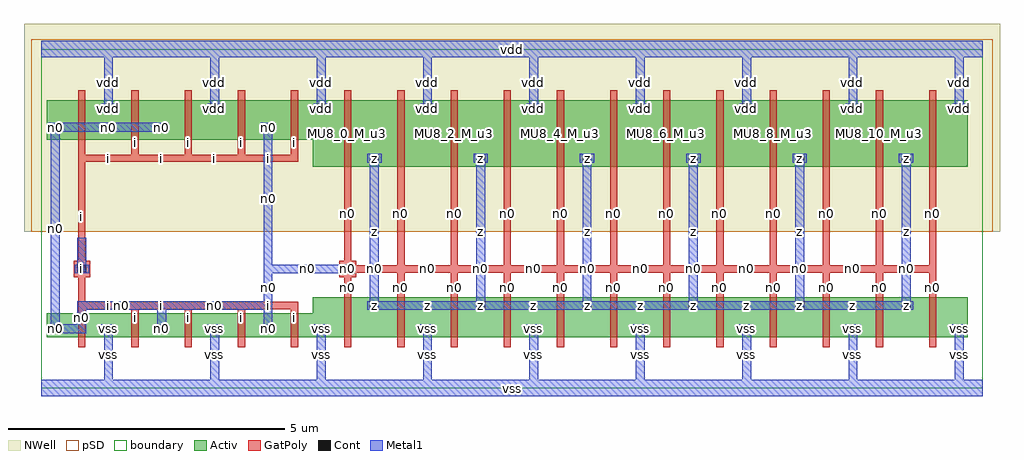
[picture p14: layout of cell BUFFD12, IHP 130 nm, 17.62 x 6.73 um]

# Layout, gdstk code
import gdstk
lib = gdstk.Library(unit=1e-6, precision=1e-09)
def R(c, l, rs):  # rectangles x0, y0, x1, y1
    for r in rs: c.add(gdstk.rectangle(r[:2], r[2:], *l))
def A(c, l, x, y, w, h, nx, ny, dx, dy):  # array of equal rectangles
    R(c, l, [(x+i*dx, y+j*dy, x+i*dx+w, y+j*dy+h) for i in range(nx) for j in range(ny)])
Activ = (1, 0)
GatPoly = (5, 0)
Cont = (6, 0)
Metal1 = (8, 0)
pSD = (14, 0)
NWell = (31, 0)
TEXT = (63, 0)
boundary = (189, 4)

buffd12 = lib.new_cell('BUFFD12')
A(buffd12, Activ, 0.105, 0.92, 1.26, 0.43, 5, 1, 0.96, 0)
A(buffd12, Activ, 0.105, 0.92, 0.3, 0.3, 6, 1, 0.96, 0)
A(buffd12, Activ, 4.905, 0.92, 1.26, 0.72, 12, 1, 0.96, 0)
A(buffd12, Activ, 6.825, 0.92, 0.3, 0.3, 6, 1, 1.92, 0)
A(buffd12, Activ, 5.865, 1.34, 0.3, 0.3, 6, 2, 1.92, 2.66)
A(buffd12, Activ, 4.905, 4, 1.26, 1.2, 12, 1, 0.96, 0)
A(buffd12, Activ, 0.105, 4.48, 1.26, 0.72, 5, 1, 0.96, 0)
A(buffd12, Activ, 0.105, 4.56, 0.3, 0.3, 3, 1, 1.92, 0)
A(buffd12, Activ, 1.065, 4.9, 0.3, 0.3, 9, 1, 1.92, 0)
A(buffd12, GatPoly, 0.67, 0.74, 0.13, 0.79, 5, 1, 0.96, 0)
A(buffd12, GatPoly, 5.47, 0.74, 0.13, 1.08, 12, 1, 0.96, 0)
A(buffd12, GatPoly, 0.67, 1.005, 0.13, 0.55, 5, 1, 0.96, 0)
A(buffd12, GatPoly, 0.67, 1.425, 1.09, 0.13, 4, 2, 0.96, 2.66)
A(buffd12, GatPoly, 5.47, 1.425, 0.13, 0.79, 12, 1, 0.96, 0)
A(buffd12, GatPoly, 5.47, 2.085, 1.09, 0.13, 11, 1, 0.96, 0)
A(buffd12, GatPoly, 5.47, 2.085, 0.13, 2.13, 12, 1, 0.96, 0)
A(buffd12, GatPoly, 5.47, 3.82, 0.13, 1.56, 12, 1, 0.96, 0)
A(buffd12, GatPoly, 1.63, 4.085, 0.13, 0.69, 4, 1, 0.96, 0)
A(buffd12, GatPoly, 0.67, 4.3, 0.13, 1.08, 5, 1, 0.96, 0)
R(buffd12, GatPoly, [(0.67,1.425,0.8,4.775), (0.585,2,0.885,2.3), (5.385,2,5.685,2.3)])
A(buffd12, Cont, 0.175, 0.99, 0.16, 0.16, 6, 1, 0.96, 0)
A(buffd12, Cont, 6.895, 0.99, 0.16, 0.16, 6, 1, 1.92, 0)
A(buffd12, Cont, 5.935, 1.41, 0.16, 0.16, 6, 2, 1.92, 2.66)
A(buffd12, Cont, 0.175, 4.63, 0.16, 0.16, 3, 1, 1.92, 0)
A(buffd12, Cont, 1.135, 4.97, 0.16, 0.16, 9, 1, 1.92, 0)
R(buffd12, Cont, [(0.655,2.07,0.815,2.23), (5.455,2.07,5.615,2.23)])
A(buffd12, Metal1, 1.135, 0.07, 0.16, 1.08, 9, 2, 1.92, 4.9)
A(buffd12, Metal1, 0.125, 0.99, 0.26, 0.16, 6, 1, 0.96, 0)
A(buffd12, Metal1, 6.845, 0.99, 0.26, 0.16, 6, 1, 1.92, 0)
A(buffd12, Metal1, 5.885, 1.41, 0.26, 0.16, 6, 2, 1.92, 2.66)
A(buffd12, Metal1, 5.935, 1.41, 2.08, 0.16, 5, 1, 1.92, 0)
A(buffd12, Metal1, 5.935, 1.41, 0.16, 2.82, 6, 1, 1.92, 0)
A(buffd12, Metal1, 0.125, 4.63, 0.26, 0.16, 3, 1, 1.92, 0)
A(buffd12, Metal1, 1.085, 4.97, 0.26, 0.16, 9, 1, 1.92, 0)
R(buffd12, Metal1, [(0,-0.15,17,0.15), (0.175,0.99,0.815,1.15), (0.175,0.99,0.335,4.79), (0.655,0.99,0.815,1.57), (2.095,0.99,2.255,1.57), (4.015,0.99,4.175,1.57), (0.655,1.41,2.255,1.57), (2.095,1.41,4.175,1.57), (4.015,1.41,4.175,2.23), (0.605,2.07,0.865,2.23), (0.655,2.07,0.815,2.71), (4.015,2.07,5.615,2.23), (4.015,2.07,4.175,4.79), (5.405,2.07,5.665,2.23), (0.175,4.63,2.255,4.79), (0,5.97,17,6.27)])
R(buffd12, pSD, [(-0.18,2.82,17.18,5.94), (-0.18,5.94,17.18,6.3)])
R(buffd12, NWell, [(-0.31,2.82,17.31,6.58)])
R(buffd12, boundary, [(0,0,17,6.12)])
buffd12.add(gdstk.FlexPath([(0.105,0.41),(16.725,0.41)], 0, ends="flush", simple_path=True, layer=63, datatype=0))  # TEXT
buffd12.add(gdstk.FlexPath([(0.105,1.07),(16.725,1.07)], 0, ends="flush", simple_path=True, layer=63, datatype=0))  # TEXT
buffd12.add(gdstk.FlexPath([(0.105,1.49),(16.725,1.49)], 0, ends="flush", simple_path=True, layer=63, datatype=0))  # TEXT
buffd12.add(gdstk.FlexPath([(0.105,2.15),(16.725,2.15)], 0, ends="flush", simple_path=True, layer=63, datatype=0))  # TEXT
buffd12.add(gdstk.FlexPath([(0.105,2.63),(16.725,2.63)], 0, ends="flush", simple_path=True, layer=63, datatype=0))  # TEXT
buffd12.add(gdstk.FlexPath([(0.105,3.11),(16.725,3.11)], 0, ends="flush", simple_path=True, layer=63, datatype=0))  # TEXT
buffd12.add(gdstk.FlexPath([(0.105,4.15),(16.725,4.15)], 0, ends="flush", simple_path=True, layer=63, datatype=0))  # TEXT
buffd12.add(gdstk.FlexPath([(0.105,4.71),(16.725,4.71)], 0, ends="flush", simple_path=True, layer=63, datatype=0))  # TEXT
buffd12.add(gdstk.FlexPath([(0.105,5.05),(16.725,5.05)], 0, ends="flush", simple_path=True, layer=63, datatype=0))  # TEXT
buffd12.add(gdstk.FlexPath([(0.105,5.71),(16.725,5.71)], 0, ends="flush", simple_path=True, layer=63, datatype=0))  # TEXT
buffd12.add(gdstk.FlexPath([(0.255,0.07),(0.255,6.05)], 0, ends="flush", simple_path=True, layer=63, datatype=0))  # TEXT
buffd12.add(gdstk.FlexPath([(0.735,0.07),(0.735,6.05)], 0, ends="flush", simple_path=True, layer=63, datatype=0))  # TEXT
buffd12.add(gdstk.FlexPath([(1.215,0.07),(1.215,6.05)], 0, ends="flush", simple_path=True, layer=63, datatype=0))  # TEXT
buffd12.add(gdstk.FlexPath([(1.695,0.07),(1.695,6.05)], 0, ends="flush", simple_path=True, layer=63, datatype=0))  # TEXT
buffd12.add(gdstk.FlexPath([(2.175,0.07),(2.175,6.05)], 0, ends="flush", simple_path=True, layer=63, datatype=0))  # TEXT
buffd12.add(gdstk.FlexPath([(2.655,0.07),(2.655,6.05)], 0, ends="flush", simple_path=True, layer=63, datatype=0))  # TEXT
buffd12.add(gdstk.FlexPath([(3.135,0.07),(3.135,6.05)], 0, ends="flush", simple_path=True, layer=63, datatype=0))  # TEXT
buffd12.add(gdstk.FlexPath([(3.615,0.07),(3.615,6.05)], 0, ends="flush", simple_path=True, layer=63, datatype=0))  # TEXT
buffd12.add(gdstk.FlexPath([(4.095,0.07),(4.095,6.05)], 0, ends="flush", simple_path=True, layer=63, datatype=0))  # TEXT
buffd12.add(gdstk.FlexPath([(4.575,0.07),(4.575,6.05)], 0, ends="flush", simple_path=True, layer=63, datatype=0))  # TEXT
buffd12.add(gdstk.FlexPath([(5.055,0.07),(5.055,6.05)], 0, ends="flush", simple_path=True, layer=63, datatype=0))  # TEXT
buffd12.add(gdstk.FlexPath([(5.535,0.07),(5.535,6.05)], 0, ends="flush", simple_path=True, layer=63, datatype=0))  # TEXT
buffd12.add(gdstk.FlexPath([(6.015,0.07),(6.015,6.05)], 0, ends="flush", simple_path=True, layer=63, datatype=0))  # TEXT
buffd12.add(gdstk.FlexPath([(6.495,0.07),(6.495,6.05)], 0, ends="flush", simple_path=True, layer=63, datatype=0))  # TEXT
buffd12.add(gdstk.FlexPath([(6.975,0.07),(6.975,6.05)], 0, ends="flush", simple_path=True, layer=63, datatype=0))  # TEXT
buffd12.add(gdstk.FlexPath([(7.455,0.07),(7.455,6.05)], 0, ends="flush", simple_path=True, layer=63, datatype=0))  # TEXT
buffd12.add(gdstk.FlexPath([(7.935,0.07),(7.935,6.05)], 0, ends="flush", simple_path=True, layer=63, datatype=0))  # TEXT
buffd12.add(gdstk.FlexPath([(8.415,0.07),(8.415,6.05)], 0, ends="flush", simple_path=True, layer=63, datatype=0))  # TEXT
buffd12.add(gdstk.FlexPath([(8.895,0.07),(8.895,6.05)], 0, ends="flush", simple_path=True, layer=63, datatype=0))  # TEXT
buffd12.add(gdstk.FlexPath([(9.375,0.07),(9.375,6.05)], 0, ends="flush", simple_path=True, layer=63, datatype=0))  # TEXT
buffd12.add(gdstk.FlexPath([(9.855,0.07),(9.855,6.05)], 0, ends="flush", simple_path=True, layer=63, datatype=0))  # TEXT
buffd12.add(gdstk.FlexPath([(10.335,0.07),(10.335,6.05)], 0, ends="flush", simple_path=True, layer=63, datatype=0))  # TEXT
buffd12.add(gdstk.FlexPath([(10.815,0.07),(10.815,6.05)], 0, ends="flush", simple_path=True, layer=63, datatype=0))  # TEXT
buffd12.add(gdstk.FlexPath([(11.295,0.07),(11.295,6.05)], 0, ends="flush", simple_path=True, layer=63, datatype=0))  # TEXT
buffd12.add(gdstk.FlexPath([(11.775,0.07),(11.775,6.05)], 0, ends="flush", simple_path=True, layer=63, datatype=0))  # TEXT
buffd12.add(gdstk.FlexPath([(12.255,0.07),(12.255,6.05)], 0, ends="flush", simple_path=True, layer=63, datatype=0))  # TEXT
buffd12.add(gdstk.FlexPath([(12.735,0.07),(12.735,6.05)], 0, ends="flush", simple_path=True, layer=63, datatype=0))  # TEXT
buffd12.add(gdstk.FlexPath([(13.215,0.07),(13.215,6.05)], 0, ends="flush", simple_path=True, layer=63, datatype=0))  # TEXT
buffd12.add(gdstk.FlexPath([(13.695,0.07),(13.695,6.05)], 0, ends="flush", simple_path=True, layer=63, datatype=0))  # TEXT
buffd12.add(gdstk.FlexPath([(14.175,0.07),(14.175,6.05)], 0, ends="flush", simple_path=True, layer=63, datatype=0))  # TEXT
buffd12.add(gdstk.FlexPath([(14.655,0.07),(14.655,6.05)], 0, ends="flush", simple_path=True, layer=63, datatype=0))  # TEXT
buffd12.add(gdstk.FlexPath([(15.135,0.07),(15.135,6.05)], 0, ends="flush", simple_path=True, layer=63, datatype=0))  # TEXT
buffd12.add(gdstk.FlexPath([(15.615,0.07),(15.615,6.05)], 0, ends="flush", simple_path=True, layer=63, datatype=0))  # TEXT
buffd12.add(gdstk.FlexPath([(16.095,0.07),(16.095,6.05)], 0, ends="flush", simple_path=True, layer=63, datatype=0))  # TEXT
buffd12.add(gdstk.FlexPath([(16.575,0.07),(16.575,6.05)], 0, ends="flush", simple_path=True, layer=63, datatype=0))  # TEXT
buffd12.add(gdstk.Label('n0', (0.255,1.07), layer=6, texttype=0))
buffd12.add(gdstk.Label('n0', (2.175,1.07), layer=6, texttype=0))
buffd12.add(gdstk.Label('n0', (4.095,1.07), layer=6, texttype=0))
buffd12.add(gdstk.Label('n0', (0.255,4.71), layer=6, texttype=0))
buffd12.add(gdstk.Label('n0', (2.175,4.71), layer=6, texttype=0))
buffd12.add(gdstk.Label('n0', (4.095,4.71), layer=6, texttype=0))
buffd12.add(gdstk.Label('n0', (5.535,2.15), layer=6, texttype=0))
buffd12.add(gdstk.Label('i', (0.735,2.15), layer=6, texttype=0))
buffd12.add(gdstk.Label('z', (6.015,1.49), layer=6, texttype=0))
buffd12.add(gdstk.Label('z', (7.935,1.49), layer=6, texttype=0))
buffd12.add(gdstk.Label('z', (9.855,1.49), layer=6, texttype=0))
buffd12.add(gdstk.Label('z', (11.775,1.49), layer=6, texttype=0))
buffd12.add(gdstk.Label('z', (13.695,1.49), layer=6, texttype=0))
buffd12.add(gdstk.Label('z', (15.615,1.49), layer=6, texttype=0))
buffd12.add(gdstk.Label('z', (6.015,4.15), layer=6, texttype=0))
buffd12.add(gdstk.Label('z', (7.935,4.15), layer=6, texttype=0))
buffd12.add(gdstk.Label('z', (9.855,4.15), layer=6, texttype=0))
buffd12.add(gdstk.Label('z', (11.775,4.15), layer=6, texttype=0))
buffd12.add(gdstk.Label('z', (13.695,4.15), layer=6, texttype=0))
buffd12.add(gdstk.Label('z', (15.615,4.15), layer=6, texttype=0))
buffd12.add(gdstk.Label('vss', (1.215,1.07), layer=6, texttype=0))
buffd12.add(gdstk.Label('vss', (3.135,1.07), layer=6, texttype=0))
buffd12.add(gdstk.Label('vss', (5.055,1.07), layer=6, texttype=0))
buffd12.add(gdstk.Label('vss', (6.975,1.07), layer=6, texttype=0))
buffd12.add(gdstk.Label('vss', (8.895,1.07), layer=6, texttype=0))
buffd12.add(gdstk.Label('vss', (10.815,1.07), layer=6, texttype=0))
buffd12.add(gdstk.Label('vss', (12.735,1.07), layer=6, texttype=0))
buffd12.add(gdstk.Label('vss', (14.655,1.07), layer=6, texttype=0))
buffd12.add(gdstk.Label('vss', (16.575,1.07), layer=6, texttype=0))
buffd12.add(gdstk.Label('vdd', (1.215,5.05), layer=6, texttype=0))
buffd12.add(gdstk.Label('vdd', (3.135,5.05), layer=6, texttype=0))
buffd12.add(gdstk.Label('vdd', (5.055,5.05), layer=6, texttype=0))
buffd12.add(gdstk.Label('vdd', (6.975,5.05), layer=6, texttype=0))
buffd12.add(gdstk.Label('vdd', (8.895,5.05), layer=6, texttype=0))
buffd12.add(gdstk.Label('vdd', (10.815,5.05), layer=6, texttype=0))
buffd12.add(gdstk.Label('vdd', (12.735,5.05), layer=6, texttype=0))
buffd12.add(gdstk.Label('vdd', (14.655,5.05), layer=6, texttype=0))
buffd12.add(gdstk.Label('vdd', (16.575,5.05), layer=6, texttype=0))
buffd12.add(gdstk.Label('n0', (0.255,1.07), layer=8, texttype=0))
buffd12.add(gdstk.Label('n0', (2.175,1.07), layer=8, texttype=0))
buffd12.add(gdstk.Label('n0', (4.095,1.07), layer=8, texttype=0))
buffd12.add(gdstk.Label('n0', (0.255,4.71), layer=8, texttype=0))
buffd12.add(gdstk.Label('n0', (2.175,4.71), layer=8, texttype=0))
buffd12.add(gdstk.Label('n0', (4.095,4.71), layer=8, texttype=0))
buffd12.add(gdstk.Label('n0', (0.495,1.07), layer=8, texttype=0))
buffd12.add(gdstk.Label('n0', (0.735,1.28), layer=8, texttype=0))
buffd12.add(gdstk.Label('n0', (1.455,1.49), layer=8, texttype=0))
buffd12.add(gdstk.Label('n0', (2.175,1.28), layer=8, texttype=0))
buffd12.add(gdstk.Label('n0', (3.135,1.49), layer=8, texttype=0))
buffd12.add(gdstk.Label('n0', (4.095,1.28), layer=8, texttype=0))
buffd12.add(gdstk.Label('n0', (4.095,1.82), layer=8, texttype=0))
buffd12.add(gdstk.Label('n0', (4.815,2.15), layer=8, texttype=0))
buffd12.add(gdstk.Label('n0', (5.535,2.15), layer=8, texttype=0))
buffd12.add(gdstk.Label('n0', (0.255,2.89), layer=8, texttype=0))
buffd12.add(gdstk.Label('n0', (1.215,4.71), layer=8, texttype=0))
buffd12.add(gdstk.Label('n0', (4.095,3.43), layer=8, texttype=0))
buffd12.add(gdstk.Label('vss', (1.215,1.07), layer=8, texttype=0))
buffd12.add(gdstk.Label('vss', (1.215,0.61), layer=8, texttype=0))
buffd12.add(gdstk.Label('vss', (3.135,1.07), layer=8, texttype=0))
buffd12.add(gdstk.Label('vss', (3.135,0.61), layer=8, texttype=0))
buffd12.add(gdstk.Label('vss', (5.055,1.07), layer=8, texttype=0))
buffd12.add(gdstk.Label('vss', (5.055,0.61), layer=8, texttype=0))
buffd12.add(gdstk.Label('vss', (6.975,1.07), layer=8, texttype=0))
buffd12.add(gdstk.Label('vss', (6.975,0.61), layer=8, texttype=0))
buffd12.add(gdstk.Label('vss', (8.895,1.07), layer=8, texttype=0))
buffd12.add(gdstk.Label('vss', (8.895,0.61), layer=8, texttype=0))
buffd12.add(gdstk.Label('vss', (10.815,1.07), layer=8, texttype=0))
buffd12.add(gdstk.Label('vss', (10.815,0.61), layer=8, texttype=0))
buffd12.add(gdstk.Label('vss', (12.735,1.07), layer=8, texttype=0))
buffd12.add(gdstk.Label('vss', (12.735,0.61), layer=8, texttype=0))
buffd12.add(gdstk.Label('vss', (14.655,1.07), layer=8, texttype=0))
buffd12.add(gdstk.Label('vss', (14.655,0.61), layer=8, texttype=0))
buffd12.add(gdstk.Label('vss', (16.575,1.07), layer=8, texttype=0))
buffd12.add(gdstk.Label('vss', (16.575,0.61), layer=8, texttype=0))
buffd12.add(gdstk.Label('vdd', (1.215,5.05), layer=8, texttype=0))
buffd12.add(gdstk.Label('vdd', (1.215,5.51), layer=8, texttype=0))
buffd12.add(gdstk.Label('vdd', (3.135,5.05), layer=8, texttype=0))
buffd12.add(gdstk.Label('vdd', (3.135,5.51), layer=8, texttype=0))
buffd12.add(gdstk.Label('vdd', (5.055,5.05), layer=8, texttype=0))
buffd12.add(gdstk.Label('vdd', (5.055,5.51), layer=8, texttype=0))
buffd12.add(gdstk.Label('vdd', (6.975,5.05), layer=8, texttype=0))
buffd12.add(gdstk.Label('vdd', (6.975,5.51), layer=8, texttype=0))
buffd12.add(gdstk.Label('vdd', (8.895,5.05), layer=8, texttype=0))
buffd12.add(gdstk.Label('vdd', (8.895,5.51), layer=8, texttype=0))
buffd12.add(gdstk.Label('vdd', (10.815,5.05), layer=8, texttype=0))
buffd12.add(gdstk.Label('vdd', (10.815,5.51), layer=8, texttype=0))
buffd12.add(gdstk.Label('vdd', (12.735,5.05), layer=8, texttype=0))
buffd12.add(gdstk.Label('vdd', (12.735,5.51), layer=8, texttype=0))
buffd12.add(gdstk.Label('vdd', (14.655,5.05), layer=8, texttype=0))
buffd12.add(gdstk.Label('vdd', (14.655,5.51), layer=8, texttype=0))
buffd12.add(gdstk.Label('vdd', (16.575,5.05), layer=8, texttype=0))
buffd12.add(gdstk.Label('vdd', (16.575,5.51), layer=8, texttype=0))
buffd12.add(gdstk.Label('i', (0.735,2.15), layer=8, texttype=2))
buffd12.add(gdstk.Label('i', (0.735,2.39), layer=8, texttype=2))
buffd12.add(gdstk.Label('z', (6.015,1.49), layer=8, texttype=2))
buffd12.add(gdstk.Label('z', (7.935,1.49), layer=8, texttype=2))
buffd12.add(gdstk.Label('z', (9.855,1.49), layer=8, texttype=2))
buffd12.add(gdstk.Label('z', (11.775,1.49), layer=8, texttype=2))
buffd12.add(gdstk.Label('z', (13.695,1.49), layer=8, texttype=2))
buffd12.add(gdstk.Label('z', (15.615,1.49), layer=8, texttype=2))
buffd12.add(gdstk.Label('z', (6.015,4.15), layer=8, texttype=2))
buffd12.add(gdstk.Label('z', (7.935,4.15), layer=8, texttype=2))
buffd12.add(gdstk.Label('z', (9.855,4.15), layer=8, texttype=2))
buffd12.add(gdstk.Label('z', (11.775,4.15), layer=8, texttype=2))
buffd12.add(gdstk.Label('z', (13.695,4.15), layer=8, texttype=2))
buffd12.add(gdstk.Label('z', (15.615,4.15), layer=8, texttype=2))
buffd12.add(gdstk.Label('z', (6.975,1.49), layer=8, texttype=2))
buffd12.add(gdstk.Label('z', (8.895,1.49), layer=8, texttype=2))
buffd12.add(gdstk.Label('z', (10.815,1.49), layer=8, texttype=2))
buffd12.add(gdstk.Label('z', (12.735,1.49), layer=8, texttype=2))
buffd12.add(gdstk.Label('z', (14.655,1.49), layer=8, texttype=2))
buffd12.add(gdstk.Label('z', (6.015,2.82), layer=8, texttype=2))
buffd12.add(gdstk.Label('z', (7.935,2.82), layer=8, texttype=2))
buffd12.add(gdstk.Label('z', (9.855,2.82), layer=8, texttype=2))
buffd12.add(gdstk.Label('z', (11.775,2.82), layer=8, texttype=2))
buffd12.add(gdstk.Label('z', (13.695,2.82), layer=8, texttype=2))
buffd12.add(gdstk.Label('z', (15.615,2.82), layer=8, texttype=2))
buffd12.add(gdstk.Label('vss', (8.5,0), layer=8, texttype=2))
buffd12.add(gdstk.Label('vdd', (8.5,6.12), layer=8, texttype=2))
buffd12.add(gdstk.Label('i', (0.735,2.15), layer=8, texttype=2))
buffd12.add(gdstk.Label('i', (0.735,2.39), layer=8, texttype=2))
buffd12.add(gdstk.Label('z', (6.015,1.49), layer=8, texttype=2))
buffd12.add(gdstk.Label('z', (7.935,1.49), layer=8, texttype=2))
buffd12.add(gdstk.Label('z', (9.855,1.49), layer=8, texttype=2))
buffd12.add(gdstk.Label('z', (11.775,1.49), layer=8, texttype=2))
buffd12.add(gdstk.Label('z', (13.695,1.49), layer=8, texttype=2))
buffd12.add(gdstk.Label('z', (15.615,1.49), layer=8, texttype=2))
buffd12.add(gdstk.Label('z', (6.015,4.15), layer=8, texttype=2))
buffd12.add(gdstk.Label('z', (7.935,4.15), layer=8, texttype=2))
buffd12.add(gdstk.Label('z', (9.855,4.15), layer=8, texttype=2))
buffd12.add(gdstk.Label('z', (11.775,4.15), layer=8, texttype=2))
buffd12.add(gdstk.Label('z', (13.695,4.15), layer=8, texttype=2))
buffd12.add(gdstk.Label('z', (15.615,4.15), layer=8, texttype=2))
buffd12.add(gdstk.Label('z', (6.975,1.49), layer=8, texttype=2))
buffd12.add(gdstk.Label('z', (8.895,1.49), layer=8, texttype=2))
buffd12.add(gdstk.Label('z', (10.815,1.49), layer=8, texttype=2))
buffd12.add(gdstk.Label('z', (12.735,1.49), layer=8, texttype=2))
buffd12.add(gdstk.Label('z', (14.655,1.49), layer=8, texttype=2))
buffd12.add(gdstk.Label('z', (6.015,2.82), layer=8, texttype=2))
buffd12.add(gdstk.Label('z', (7.935,2.82), layer=8, texttype=2))
buffd12.add(gdstk.Label('z', (9.855,2.82), layer=8, texttype=2))
buffd12.add(gdstk.Label('z', (11.775,2.82), layer=8, texttype=2))
buffd12.add(gdstk.Label('z', (13.695,2.82), layer=8, texttype=2))
buffd12.add(gdstk.Label('z', (15.615,2.82), layer=8, texttype=2))
buffd12.add(gdstk.Label('vss', (8.5,0), layer=8, texttype=2))
buffd12.add(gdstk.Label('vdd', (8.5,6.12), layer=8, texttype=2))
buffd12.add(gdstk.Label('M_u2_0_M_u2', (0.735,1.135), layer=1, texttype=0))
buffd12.add(gdstk.Label('M_u2_1_M_u2', (1.695,1.135), layer=1, texttype=0))
buffd12.add(gdstk.Label('M_u2_2_M_u2', (2.655,1.135), layer=1, texttype=0))
buffd12.add(gdstk.Label('M_u2_3_M_u2', (3.615,1.135), layer=1, texttype=0))
buffd12.add(gdstk.Label('M_u2_4_M_u2', (4.575,1.135), layer=1, texttype=0))
buffd12.add(gdstk.Label('MU8_0_M_u2', (5.535,1.28), layer=1, texttype=0))
buffd12.add(gdstk.Label('MU8_1_M_u2', (6.495,1.28), layer=1, texttype=0))
buffd12.add(gdstk.Label('MU8_2_M_u2', (7.455,1.28), layer=1, texttype=0))
buffd12.add(gdstk.Label('MU8_3_M_u2', (8.415,1.28), layer=1, texttype=0))
buffd12.add(gdstk.Label('MU8_4_M_u2', (9.375,1.28), layer=1, texttype=0))
buffd12.add(gdstk.Label('MU8_5_M_u2', (10.335,1.28), layer=1, texttype=0))
buffd12.add(gdstk.Label('MU8_6_M_u2', (11.295,1.28), layer=1, texttype=0))
buffd12.add(gdstk.Label('MU8_7_M_u2', (12.255,1.28), layer=1, texttype=0))
buffd12.add(gdstk.Label('MU8_8_M_u2', (13.215,1.28), layer=1, texttype=0))
buffd12.add(gdstk.Label('MU8_9_M_u2', (14.175,1.28), layer=1, texttype=0))
buffd12.add(gdstk.Label('MU8_10_M_u2', (15.135,1.28), layer=1, texttype=0))
buffd12.add(gdstk.Label('MU8_11_M_u2', (16.095,1.28), layer=1, texttype=0))
buffd12.add(gdstk.Label('M_u2_0_M_u3', (0.735,4.84), layer=1, texttype=0))
buffd12.add(gdstk.Label('M_u2_1_M_u3', (1.695,4.84), layer=1, texttype=0))
buffd12.add(gdstk.Label('M_u2_2_M_u3', (2.655,4.84), layer=1, texttype=0))
buffd12.add(gdstk.Label('M_u2_3_M_u3', (3.615,4.84), layer=1, texttype=0))
buffd12.add(gdstk.Label('M_u2_4_M_u3', (4.575,4.84), layer=1, texttype=0))
buffd12.add(gdstk.Label('MU8_0_M_u3', (5.535,4.6), layer=1, texttype=0))
buffd12.add(gdstk.Label('MU8_1_M_u3', (6.495,4.6), layer=1, texttype=0))
buffd12.add(gdstk.Label('MU8_2_M_u3', (7.455,4.6), layer=1, texttype=0))
buffd12.add(gdstk.Label('MU8_3_M_u3', (8.415,4.6), layer=1, texttype=0))
buffd12.add(gdstk.Label('MU8_4_M_u3', (9.375,4.6), layer=1, texttype=0))
buffd12.add(gdstk.Label('MU8_5_M_u3', (10.335,4.6), layer=1, texttype=0))
buffd12.add(gdstk.Label('MU8_6_M_u3', (11.295,4.6), layer=1, texttype=0))
buffd12.add(gdstk.Label('MU8_7_M_u3', (12.255,4.6), layer=1, texttype=0))
buffd12.add(gdstk.Label('MU8_8_M_u3', (13.215,4.6), layer=1, texttype=0))
buffd12.add(gdstk.Label('MU8_9_M_u3', (14.175,4.6), layer=1, texttype=0))
buffd12.add(gdstk.Label('MU8_10_M_u3', (15.135,4.6), layer=1, texttype=0))
buffd12.add(gdstk.Label('MU8_11_M_u3', (16.095,4.6), layer=1, texttype=0))
buffd12.add(gdstk.Label('n0', (0.255,1.07), layer=1, texttype=0))
buffd12.add(gdstk.Label('n0', (2.175,1.07), layer=1, texttype=0))
buffd12.add(gdstk.Label('n0', (4.095,1.07), layer=1, texttype=0))
buffd12.add(gdstk.Label('n0', (0.255,4.71), layer=1, texttype=0))
buffd12.add(gdstk.Label('n0', (2.175,4.71), layer=1, texttype=0))
buffd12.add(gdstk.Label('n0', (4.095,4.71), layer=1, texttype=0))
buffd12.add(gdstk.Label('z', (6.015,1.49), layer=1, texttype=0))
buffd12.add(gdstk.Label('z', (7.935,1.49), layer=1, texttype=0))
buffd12.add(gdstk.Label('z', (9.855,1.49), layer=1, texttype=0))
buffd12.add(gdstk.Label('z', (11.775,1.49), layer=1, texttype=0))
buffd12.add(gdstk.Label('z', (13.695,1.49), layer=1, texttype=0))
buffd12.add(gdstk.Label('z', (15.615,1.49), layer=1, texttype=0))
buffd12.add(gdstk.Label('z', (6.015,4.15), layer=1, texttype=0))
buffd12.add(gdstk.Label('z', (7.935,4.15), layer=1, texttype=0))
buffd12.add(gdstk.Label('z', (9.855,4.15), layer=1, texttype=0))
buffd12.add(gdstk.Label('z', (11.775,4.15), layer=1, texttype=0))
buffd12.add(gdstk.Label('z', (13.695,4.15), layer=1, texttype=0))
buffd12.add(gdstk.Label('z', (15.615,4.15), layer=1, texttype=0))
buffd12.add(gdstk.Label('vss', (1.215,1.07), layer=1, texttype=0))
buffd12.add(gdstk.Label('vss', (3.135,1.07), layer=1, texttype=0))
buffd12.add(gdstk.Label('vss', (5.055,1.07), layer=1, texttype=0))
buffd12.add(gdstk.Label('vss', (6.975,1.07), layer=1, texttype=0))
buffd12.add(gdstk.Label('vss', (8.895,1.07), layer=1, texttype=0))
buffd12.add(gdstk.Label('vss', (10.815,1.07), layer=1, texttype=0))
buffd12.add(gdstk.Label('vss', (12.735,1.07), layer=1, texttype=0))
buffd12.add(gdstk.Label('vss', (14.655,1.07), layer=1, texttype=0))
buffd12.add(gdstk.Label('vss', (16.575,1.07), layer=1, texttype=0))
buffd12.add(gdstk.Label('vdd', (1.215,5.05), layer=1, texttype=0))
buffd12.add(gdstk.Label('vdd', (3.135,5.05), layer=1, texttype=0))
buffd12.add(gdstk.Label('vdd', (5.055,5.05), layer=1, texttype=0))
buffd12.add(gdstk.Label('vdd', (6.975,5.05), layer=1, texttype=0))
buffd12.add(gdstk.Label('vdd', (8.895,5.05), layer=1, texttype=0))
buffd12.add(gdstk.Label('vdd', (10.815,5.05), layer=1, texttype=0))
buffd12.add(gdstk.Label('vdd', (12.735,5.05), layer=1, texttype=0))
buffd12.add(gdstk.Label('vdd', (14.655,5.05), layer=1, texttype=0))
buffd12.add(gdstk.Label('vdd', (16.575,5.05), layer=1, texttype=0))
buffd12.add(gdstk.Label('i', (0.735,2.15), layer=8, texttype=25))
buffd12.add(gdstk.Label('i', (0.735,2.39), layer=8, texttype=25))
buffd12.add(gdstk.Label('z', (6.015,1.49), layer=8, texttype=25))
buffd12.add(gdstk.Label('z', (7.935,1.49), layer=8, texttype=25))
buffd12.add(gdstk.Label('z', (9.855,1.49), layer=8, texttype=25))
buffd12.add(gdstk.Label('z', (11.775,1.49), layer=8, texttype=25))
buffd12.add(gdstk.Label('z', (13.695,1.49), layer=8, texttype=25))
buffd12.add(gdstk.Label('z', (15.615,1.49), layer=8, texttype=25))
buffd12.add(gdstk.Label('z', (6.015,4.15), layer=8, texttype=25))
buffd12.add(gdstk.Label('z', (7.935,4.15), layer=8, texttype=25))
buffd12.add(gdstk.Label('z', (9.855,4.15), layer=8, texttype=25))
buffd12.add(gdstk.Label('z', (11.775,4.15), layer=8, texttype=25))
buffd12.add(gdstk.Label('z', (13.695,4.15), layer=8, texttype=25))
buffd12.add(gdstk.Label('z', (15.615,4.15), layer=8, texttype=25))
buffd12.add(gdstk.Label('z', (6.975,1.49), layer=8, texttype=25))
buffd12.add(gdstk.Label('z', (8.895,1.49), layer=8, texttype=25))
buffd12.add(gdstk.Label('z', (10.815,1.49), layer=8, texttype=25))
buffd12.add(gdstk.Label('z', (12.735,1.49), layer=8, texttype=25))
buffd12.add(gdstk.Label('z', (14.655,1.49), layer=8, texttype=25))
buffd12.add(gdstk.Label('z', (6.015,2.82), layer=8, texttype=25))
buffd12.add(gdstk.Label('z', (7.935,2.82), layer=8, texttype=25))
buffd12.add(gdstk.Label('z', (9.855,2.82), layer=8, texttype=25))
buffd12.add(gdstk.Label('z', (11.775,2.82), layer=8, texttype=25))
buffd12.add(gdstk.Label('z', (13.695,2.82), layer=8, texttype=25))
buffd12.add(gdstk.Label('z', (15.615,2.82), layer=8, texttype=25))
buffd12.add(gdstk.Label('vss', (8.5,0), layer=8, texttype=25))
buffd12.add(gdstk.Label('vdd', (8.5,6.12), layer=8, texttype=25))
buffd12.add(gdstk.Label('n0', (5.535,2.15), layer=5, texttype=0))
buffd12.add(gdstk.Label('n0', (5.535,1.82), layer=5, texttype=0))
buffd12.add(gdstk.Label('n0', (6.015,2.15), layer=5, texttype=0))
buffd12.add(gdstk.Label('n0', (6.495,1.82), layer=5, texttype=0))
buffd12.add(gdstk.Label('n0', (6.975,2.15), layer=5, texttype=0))
buffd12.add(gdstk.Label('n0', (7.455,1.82), layer=5, texttype=0))
buffd12.add(gdstk.Label('n0', (7.935,2.15), layer=5, texttype=0))
buffd12.add(gdstk.Label('n0', (8.415,1.82), layer=5, texttype=0))
buffd12.add(gdstk.Label('n0', (8.895,2.15), layer=5, texttype=0))
buffd12.add(gdstk.Label('n0', (9.375,1.82), layer=5, texttype=0))
buffd12.add(gdstk.Label('n0', (9.855,2.15), layer=5, texttype=0))
buffd12.add(gdstk.Label('n0', (10.335,1.82), layer=5, texttype=0))
buffd12.add(gdstk.Label('n0', (10.815,2.15), layer=5, texttype=0))
buffd12.add(gdstk.Label('n0', (11.295,1.82), layer=5, texttype=0))
buffd12.add(gdstk.Label('n0', (11.775,2.15), layer=5, texttype=0))
buffd12.add(gdstk.Label('n0', (12.255,1.82), layer=5, texttype=0))
buffd12.add(gdstk.Label('n0', (12.735,2.15), layer=5, texttype=0))
buffd12.add(gdstk.Label('n0', (13.215,1.82), layer=5, texttype=0))
buffd12.add(gdstk.Label('n0', (13.695,2.15), layer=5, texttype=0))
buffd12.add(gdstk.Label('n0', (14.175,1.82), layer=5, texttype=0))
buffd12.add(gdstk.Label('n0', (14.655,2.15), layer=5, texttype=0))
buffd12.add(gdstk.Label('n0', (15.135,1.82), layer=5, texttype=0))
buffd12.add(gdstk.Label('n0', (15.615,2.15), layer=5, texttype=0))
buffd12.add(gdstk.Label('n0', (16.095,1.82), layer=5, texttype=0))
buffd12.add(gdstk.Label('n0', (5.535,3.15), layer=5, texttype=0))
buffd12.add(gdstk.Label('n0', (6.495,3.15), layer=5, texttype=0))
buffd12.add(gdstk.Label('n0', (7.455,3.15), layer=5, texttype=0))
buffd12.add(gdstk.Label('n0', (8.415,3.15), layer=5, texttype=0))
buffd12.add(gdstk.Label('n0', (9.375,3.15), layer=5, texttype=0))
buffd12.add(gdstk.Label('n0', (10.335,3.15), layer=5, texttype=0))
buffd12.add(gdstk.Label('n0', (11.295,3.15), layer=5, texttype=0))
buffd12.add(gdstk.Label('n0', (12.255,3.15), layer=5, texttype=0))
buffd12.add(gdstk.Label('n0', (13.215,3.15), layer=5, texttype=0))
buffd12.add(gdstk.Label('n0', (14.175,3.15), layer=5, texttype=0))
buffd12.add(gdstk.Label('n0', (15.135,3.15), layer=5, texttype=0))
buffd12.add(gdstk.Label('n0', (16.095,3.15), layer=5, texttype=0))
buffd12.add(gdstk.Label('i', (0.735,1.28), layer=5, texttype=0))
buffd12.add(gdstk.Label('i', (1.215,1.49), layer=5, texttype=0))
buffd12.add(gdstk.Label('i', (1.695,1.28), layer=5, texttype=0))
buffd12.add(gdstk.Label('i', (2.175,1.49), layer=5, texttype=0))
buffd12.add(gdstk.Label('i', (2.655,1.28), layer=5, texttype=0))
buffd12.add(gdstk.Label('i', (3.135,1.49), layer=5, texttype=0))
buffd12.add(gdstk.Label('i', (3.615,1.28), layer=5, texttype=0))
buffd12.add(gdstk.Label('i', (4.095,1.49), layer=5, texttype=0))
buffd12.add(gdstk.Label('i', (4.575,1.28), layer=5, texttype=0))
buffd12.add(gdstk.Label('i', (0.735,3.1), layer=5, texttype=0))
buffd12.add(gdstk.Label('i', (1.215,4.15), layer=5, texttype=0))
buffd12.add(gdstk.Label('i', (1.695,4.43), layer=5, texttype=0))
buffd12.add(gdstk.Label('i', (2.175,4.15), layer=5, texttype=0))
buffd12.add(gdstk.Label('i', (2.655,4.43), layer=5, texttype=0))
buffd12.add(gdstk.Label('i', (3.135,4.15), layer=5, texttype=0))
buffd12.add(gdstk.Label('i', (3.615,4.43), layer=5, texttype=0))
buffd12.add(gdstk.Label('i', (4.095,4.15), layer=5, texttype=0))
buffd12.add(gdstk.Label('i', (4.575,4.43), layer=5, texttype=0))
buffd12.add(gdstk.Label('i', (0.735,2.15), layer=5, texttype=0))

lib.write_gds('BUFFD12.gds')
